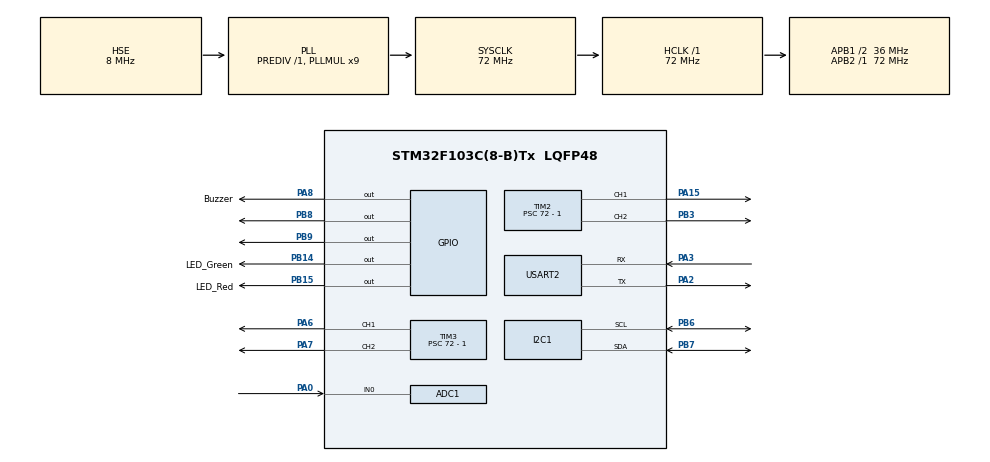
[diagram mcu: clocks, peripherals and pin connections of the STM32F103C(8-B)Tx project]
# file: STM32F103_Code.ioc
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ADC1.Channel-0\#ChannelRegularConversion=ADC_CHANNEL_0
ADC1.NbrOfConversionFlag=1
ADC1.Rank-0\#ChannelRegularConversion=1
ADC1.SamplingTime-0\#ChannelRegularConversion=ADC_SAMPLETIME_1CYCLE_5
ADC1.master=1
Mcu.Family=STM32F1
Mcu.Name=STM32F103C(8-B)Tx
Mcu.Package=LQFP48
NVIC.PriorityGroup=NVIC_PRIORITYGROUP_4
PA0-WKUP.Signal=ADCx_IN0
PA13.Mode=Serial_Wire
PA13.Signal=SYS_JTMS-SWDIO
PA14.Mode=Serial_Wire
PA14.Signal=SYS_JTCK-SWCLK
PA15.Signal=S_TIM2_CH1_ETR
PA2.Mode=Asynchronous
PA2.Signal=USART2_TX
PA3.Mode=Asynchronous
PA3.Signal=USART2_RX
PA6.Signal=S_TIM3_CH1
PA7.Signal=S_TIM3_CH2
PA8.GPIO_Label=Buzzer
PA8.Signal=GPIO_Output
PB14.GPIO_Label=LED_Green
PB14.Signal=GPIO_Output
PB15.GPIO_Label=LED_Red
PB15.Signal=GPIO_Output
PB3.Signal=S_TIM2_CH2
PB6.Mode=I2C
PB6.Signal=I2C1_SCL
PB7.Mode=I2C
PB7.Signal=I2C1_SDA
PB8.Signal=GPIO_Output
PB9.Signal=GPIO_Output
PC14-OSC32_IN.Mode=LSE-External-Oscillator
PC14-OSC32_IN.Signal=RCC_OSC32_IN
PC15-OSC32_OUT.Mode=LSE-External-Oscillator
PC15-OSC32_OUT.Signal=RCC_OSC32_OUT
PD0-OSC_IN.Mode=HSE-External-Oscillator
PD0-OSC_IN.Signal=RCC_OSC_IN
PD1-OSC_OUT.Mode=HSE-External-Oscillator
PD1-OSC_OUT.Signal=RCC_OSC_OUT
ProjectManager.HeapSize=0x200
ProjectManager.StackSize=0x400
ProjectManager.TargetToolchain=STM32CubeIDE
RCC.ADCPresc=RCC_ADCPCLK2_DIV6
RCC.AHBFreq_Value=72000000
RCC.APB1CLKDivider=RCC_HCLK_DIV2
RCC.APB1Freq_Value=36000000
RCC.APB1TimFreq_Value=72000000
RCC.APB2Freq_Value=72000000
RCC.APB2TimFreq_Value=72000000
RCC.HCLKFreq_Value=72000000
RCC.PLLMUL=RCC_PLL_MUL9
RCC.PLLSourceVirtual=RCC_PLLSOURCE_HSE
RCC.SYSCLKFreq_VALUE=72000000
RCC.SYSCLKSource=RCC_SYSCLKSOURCE_PLLCLK
RCC.USBFreq_Value=72000000
SH.ADCx_IN0.0=ADC1_IN0,IN0
SH.S_TIM2_CH1_ETR.0=TIM2_CH1,PWM Generation1 CH1
SH.S_TIM2_CH2.0=TIM2_CH2,PWM Generation2 CH2
SH.S_TIM3_CH1.0=TIM3_CH1,PWM Generation1 CH1
SH.S_TIM3_CH2.0=TIM3_CH2,PWM Generation2 CH2
TIM1.Prescaler=72 - 1
TIM2.Channel-PWM\ Generation1\ CH1=TIM_CHANNEL_1
TIM2.Channel-PWM\ Generation2\ CH2=TIM_CHANNEL_2
TIM2.Period=1000 - 1
TIM2.Prescaler=72 - 1
TIM3.Channel-PWM\ Generation1\ CH1=TIM_CHANNEL_1
TIM3.Channel-PWM\ Generation2\ CH2=TIM_CHANNEL_2
TIM3.Period=1000 - 1
TIM3.Prescaler=72 - 1
USART2.VirtualMode=VM_ASYNC
VP_TIM1_VS_ClockSourceINT.Mode=Internal
board=custom

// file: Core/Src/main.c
/* USER CODE BEGIN Header */
/**
  ******************************************************************************
  * @file           : main.c
  * @brief          : Smart Environment Monitor & Controller
  *
  * Chức năng:
  *  1. Đo DHT11_INDOOR / DHT11_OUTDOOR → LED + Buzzer cảnh báo nhiệt độ
  *  2. PID điều khiển PWM TIM2_CH1, TIM2_CH2, TIM3_CH1 theo nhiệt độ Indoor
  *  3. MQ6 đo khí gas → PID điều khiển PWM TIM3_CH2, cảnh báo PPM > 100
  *  4. Hiển thị OLED: Temp/Hum In-Out, PPM, PWM, Setpoint, State
  *  5. Gửi dữ liệu qua UART2 → ESP32 (JSON, mỗi 2 giây)
  ******************************************************************************
  */
/* USER CODE END Header */

#include "main.h"
#include "adc.h"
#include "i2c.h"
#include "tim.h"
#include "usart.h"
#include "gpio.h"

/* USER CODE BEGIN Includes */
#include "dht11.h"
#include "mq6.h"
#include "pid.h"
#include "ssd1306.h"
#include "ssd1306_fonts.h"
#include <stdio.h>
#include <string.h>
/* USER CODE END Includes */

/* USER CODE BEGIN PD */
/* ── Ngưỡng cảnh báo ─────────────────────────────────────────────────── */
#define TEMP_ALERT_THRESHOLD    80.0f   /* °C – cảnh báo nhiệt độ         */
#define GAS_ALERT_THRESHOLD     100.0f  /* ppm – cảnh báo khí gas         */

/* ── Setpoint PID nhiệt độ (mục tiêu làm mát) ───────────────────────── */
#define TEMP_SETPOINT           30.0f   /* °C                              */

/* ── Setpoint PID gas (mục tiêu thổi khí khi gas cao) ───────────────── */
#define GAS_SETPOINT_LOW        100.0f   /* ppm – quạt thổi nhẹ            */

/* ── PWM range (TIM2/TIM3, Period = 1000) ───────────────────────────── */
#define PWM_MIN                 200.0f
#define PWM_MAX                 999.0f

/* ── PID tuning: nhiệt độ ───────────────────────────────────────────── */
#define TEMP_KP                 200.0f
#define TEMP_KI                 0.2f
#define TEMP_KD                 10.0f

/* ── PID tuning: gas ────────────────────────────────────────────────── */
#define GAS_KP                  8.0f
#define GAS_KI                  0.2f
#define GAS_KD                  1.0f

/* ── Chu kỳ vòng lặp chính ──────────────────────────────────────────── */
#define LOOP_DELAY_MS           1000
/* USER CODE END PD */

/* USER CODE BEGIN PV */
/* ── PID instances ───────────────────────────────────────────────────── */
static PID_t pidTemp;   /* điều khiển TIM2_CH1, TIM2_CH2, TIM3_CH1      */
static PID_t pidGas;    /* điều khiển TIM3_CH2                           */

/* ── Buffer dùng chung cho sprintf / UART ───────────────────────────── */
static char strBuf[128];
static char uartBuf[256];
/* USER CODE END PV */

void SystemClock_Config(void);

/* USER CODE BEGIN PFP */
static void Alert_Update(uint8_t tempAlert, uint8_t gasAlert);
static void OLED_Update(uint8_t inOk, uint8_t outOk,
                        uint32_t pwmTemp, uint32_t pwmGas,
                        float gasPPM, uint8_t tempAlert, uint8_t gasAlert);
static void UART_SendData(uint8_t inOk, uint8_t outOk,
                          uint32_t pwmTemp, uint32_t pwmGas,
                          float gasPPM, uint8_t tempAlert, uint8_t gasAlert);
/* USER CODE END PFP */

/* =========================================================================
 * main
 * ========================================================================= */
int main(void)
{
    /* ── HAL & Clock ─────────────────────────────────────────────────── */
    HAL_Init();
    SystemClock_Config();

    /* ── Peripheral init ─────────────────────────────────────────────── */
    MX_GPIO_Init();
    MX_ADC1_Init();
    MX_I2C1_Init();
    MX_TIM1_Init();
    MX_TIM2_Init();
    MX_TIM3_Init();
    MX_USART2_UART_Init();

    /* USER CODE BEGIN 2 */
    /* ── Timer base (dùng cho DHT11 microDelay) ──────────────────────── */
    HAL_TIM_Base_Start(&htim1);

    /* ── OLED ────────────────────────────────────────────────────────── */
    ssd1306_Init();

    /* ── DHT11 ───────────────────────────────────────────────────────── */
    DHT11_Init(&DHT11_INDOOR);
    DHT11_Init(&DHT11_OUTDOOR);

    /* ── PWM channels ────────────────────────────────────────────────── */
    HAL_TIM_PWM_Start(&htim2, TIM_CHANNEL_1);
    HAL_TIM_PWM_Start(&htim2, TIM_CHANNEL_2);
    HAL_TIM_PWM_Start(&htim3, TIM_CHANNEL_1);
    HAL_TIM_PWM_Start(&htim3, TIM_CHANNEL_2);

    /* Khởi đầu tất cả PWM = 0 */
    __HAL_TIM_SET_COMPARE(&htim2, TIM_CHANNEL_1, 0);
    __HAL_TIM_SET_COMPARE(&htim2, TIM_CHANNEL_2, 0);
    __HAL_TIM_SET_COMPARE(&htim3, TIM_CHANNEL_1, 0);
    __HAL_TIM_SET_COMPARE(&htim3, TIM_CHANNEL_2, 0);

    /* ── PID: nhiệt độ (TIM2_CH1, TIM2_CH2, TIM3_CH1) ──────────────── */
    PID_Init(&pidTemp,
             TEMP_KP, TEMP_KI, TEMP_KD,
             TEMP_SETPOINT,
             PWM_MIN, PWM_MAX);

    /* ── PID: gas (TIM3_CH2) ─────────────────────────────────────────── */
    PID_Init(&pidGas,
             GAS_KP, GAS_KI, GAS_KD,
             GAS_SETPOINT_LOW,
             PWM_MIN, PWM_MAX);

    /* ── MQ6: warm-up 20s + calibrate (blocking, chỉ 1 lần) ─────────── */
    {
        /* Hiển thị thông báo warm-up lên OLED trong lúc chờ */
        ssd1306_Fill(Black);
        ssd1306_SetCursor(10, 20);
        ssd1306_WriteString("MQ6 Warming up", Font_7x10, White);
        ssd1306_SetCursor(20, 38);
        ssd1306_WriteString("Please wait...", Font_7x10, White);
        ssd1306_UpdateScreen();
    }
    MQ6_Init();   /* blocking ~20s + 50 samples calibrate */

    PID_Reset(&pidTemp);
    PID_Reset(&pidGas);
    /* USER CODE END 2 */

    /* ── Infinite loop ───────────────────────────────────────────────── */
    while (1)
    {
        /* ── 1. Đọc DHT11 ───────────────────────────────────────────── */
        uint8_t inOk  = DHT11_Read(&DHT11_INDOOR);
        uint8_t outOk = DHT11_Read(&DHT11_OUTDOOR);

        /* ── 2. Đọc MQ6 ─────────────────────────────────────────────── */
        float gasPPM = MQ6_Read();   /* trả -1 nếu chưa calibrate        */
        if (gasPPM < 0.0f) gasPPM = 0.0f;

        /* ── 3. PID nhiệt độ → PWM TIM2_CH1, TIM2_CH2, TIM3_CH1 ────── */
        uint32_t pwmTemp = 0;
        if (inOk)
        {
            PID_Compute(&pidTemp, DHT11_INDOOR.temperature,
                        (float)LOOP_DELAY_MS / 1000.0f);
            pwmTemp = PID_GetPWM(&pidTemp);
        }
        __HAL_TIM_SET_COMPARE(&htim2, TIM_CHANNEL_1, pwmTemp);
        __HAL_TIM_SET_COMPARE(&htim2, TIM_CHANNEL_2, pwmTemp);
//        __HAL_TIM_SET_COMPARE(&htim3, TIM_CHANNEL_2, pwmTemp);

        /* ── 4. PID gas → PWM TIM3_CH2 ──────────────────────────────── */
        uint32_t pwmGas;
        if (gasPPM < GAS_ALERT_THRESHOLD)
		{
			pwmGas = 150;
			PID_Reset(&pidGas);  /* reset tích phân, PID bắt đầu sạch khi vượt ngưỡng */
		}
		else
		{
			PID_Compute(&pidGas, gasPPM, (float)LOOP_DELAY_MS / 1000.0f);
			pwmGas = PID_GetPWM(&pidGas);
		}
		__HAL_TIM_SET_COMPARE(&htim3, TIM_CHANNEL_1, pwmGas);

        /* ── 5. Đánh giá cảnh báo ────────────────────────────────────── */
        uint8_t tempAlert = (inOk && DHT11_INDOOR.temperature > TEMP_ALERT_THRESHOLD) ? 1 : 0;
        uint8_t gasAlert  = MQ6_IsAlert();   /* PPM >= MQ6_ALERT_PPM (100) */

        /* ── 6. LED & Buzzer ─────────────────────────────────────────── */
        Alert_Update(tempAlert, gasAlert);

        /* ── 7. Hiển thị OLED ───────────────────────────────────────── */
        OLED_Update(inOk, outOk, pwmTemp, pwmGas,
                    gasPPM, tempAlert, gasAlert);

        /* ── 8. Gửi UART → ESP32 ────────────────────────────────────── */
        UART_SendData(inOk, outOk, pwmTemp, pwmGas,
                      gasPPM, tempAlert, gasAlert);

        /* ── 9. Chờ ─────────────────────────────────────────────────── */
        HAL_Delay(500);
    }
}

/* =========================================================================
 * Alert_Update
 *   - Cả hai OK   → LED Xanh ON,  LED Đỏ OFF, Buzzer OFF
 *   - Bất kỳ cảnh báo → LED Xanh OFF, LED Đỏ ON, Buzzer ON
 * ========================================================================= */
static void Alert_Update(uint8_t tempAlert, uint8_t gasAlert)
{
    if (tempAlert || gasAlert)
    {
        HAL_GPIO_WritePin(LED_Red_GPIO_Port,   LED_Red_Pin,   GPIO_PIN_SET);
        HAL_GPIO_WritePin(LED_Green_GPIO_Port, LED_Green_Pin, GPIO_PIN_RESET);
        HAL_GPIO_WritePin(Buzzer_GPIO_Port,    Buzzer_Pin,    GPIO_PIN_SET);
    }
    else
    {
        HAL_GPIO_WritePin(LED_Red_GPIO_Port,   LED_Red_Pin,   GPIO_PIN_RESET);
        HAL_GPIO_WritePin(LED_Green_GPIO_Port, LED_Green_Pin, GPIO_PIN_SET);
        HAL_GPIO_WritePin(Buzzer_GPIO_Port,    Buzzer_Pin,    GPIO_PIN_RESET);
    }
}

/* =========================================================================
 * OLED_Update  –  Layout 128×64, chia 2 vùng ngang
 *
 *  Cột trái (0..62)   : INDOOR temp/hum + PWM nhiệt + State nhiệt
 *  Cột phải (65..127) : OUTDOOR temp/hum + PPM + PWM gas
 *  Dòng kẻ dọc tại x = 63
 *  Dòng cuối (y=54)   : Setpoint nhiệt | Setpoint gas
 * ========================================================================= */
static void OLED_Update(uint8_t inOk, uint8_t outOk,
                        uint32_t pwmTemp, uint32_t pwmGas,
                        float gasPPM, uint8_t tempAlert, uint8_t gasAlert)
{
    ssd1306_Fill(Black);

    /* Đường kẻ dọc giữa */
    for (uint8_t y = 0; y < 64; y++)
        ssd1306_DrawPixel(63, y, White);

    /* ── Cột trái: INDOOR ─────────────────────────────────────────────── */
    ssd1306_SetCursor(0, 0);
    ssd1306_WriteString("INDOOR", Font_7x10, White);

    if (inOk)
    {
        /* Nhiệt độ */
        sprintf(strBuf, "%d.%dC",
                (int)DHT11_INDOOR.temperature,
                (int)(DHT11_INDOOR.temperature * 10) % 10);
        ssd1306_SetCursor(0, 12);
        ssd1306_WriteString(strBuf, Font_7x10, White);

        /* Độ ẩm */
        sprintf(strBuf, "%d.%d%%",
                (int)DHT11_INDOOR.humidity,
                (int)(DHT11_INDOOR.humidity * 10) % 10);
        ssd1306_SetCursor(0, 24);
        ssd1306_WriteString(strBuf, Font_7x10, White);

        /* PWM nhiệt */
        sprintf(strBuf, "P:%lu", pwmTemp);
        ssd1306_SetCursor(0, 36);
        ssd1306_WriteString(strBuf, Font_7x10, White);

    }
    else
    {
        ssd1306_SetCursor(0, 12);
        ssd1306_WriteString("--.-C", Font_7x10, White);
        ssd1306_SetCursor(0, 24);
        ssd1306_WriteString("--.-%", Font_7x10, White);
        ssd1306_SetCursor(0, 36);
        ssd1306_WriteString("P:---", Font_7x10, White);
    }

    /* Setpoint nhiệt */
    sprintf(strBuf, "S:%.0fC", TEMP_SETPOINT);
    ssd1306_SetCursor(0, 48);
    ssd1306_WriteString(strBuf, Font_7x10, White);

    /* ── Cột phải: OUTDOOR ────────────────────────────────────────────── */
    ssd1306_SetCursor(66, 0);
    ssd1306_WriteString("OUTDR", Font_7x10, White);

    if (outOk)
    {
        sprintf(strBuf, "%d.%dC",
                (int)DHT11_OUTDOOR.temperature,
                (int)(DHT11_OUTDOOR.temperature * 10) % 10);
        ssd1306_SetCursor(66, 12);
        ssd1306_WriteString(strBuf, Font_7x10, White);

        sprintf(strBuf, "%d.%d%%",
                (int)DHT11_OUTDOOR.humidity,
                (int)(DHT11_OUTDOOR.humidity * 10) % 10);
        ssd1306_SetCursor(66, 24);
        ssd1306_WriteString(strBuf, Font_7x10, White);
    }
    else
    {
        ssd1306_SetCursor(66, 12);
        ssd1306_WriteString("--.-C", Font_7x10, White);
        ssd1306_SetCursor(66, 24);
        ssd1306_WriteString("--.-%", Font_7x10, White);
    }

    /* PPM */
    sprintf(strBuf, "%dppm", (int)gasPPM);
    ssd1306_SetCursor(66, 36);
    ssd1306_WriteString(strBuf, Font_7x10, White);

    /* State gas */
    ssd1306_SetCursor(66, 48);
    ssd1306_WriteString(gasAlert ? "!GAS!" : "SAFE", Font_7x10, White);

    ssd1306_UpdateScreen();
}

/* =========================================================================
 * UART_SendData  –  Gửi JSON tới ESP32 qua USART2
 *
 *  Format:
 *  {"ti":25.3,"hi":60.1,"to":28.0,"ho":65.0,
 *   "ppm":45,"pt":350,"pg":120,"sp_t":30,"sp_g":50,
 *   "st_t":"OK","st_g":"SAFE"}\r\n
 * ========================================================================= */
static void UART_SendData(uint8_t inOk, uint8_t outOk,
                          uint32_t pwmTemp, uint32_t pwmGas,
                          float gasPPM, uint8_t tempAlert, uint8_t gasAlert)
{
    float ti = inOk ? DHT11_INDOOR.temperature : -1.0f;
    float hi = inOk ? DHT11_INDOOR.humidity    : -1.0f;

    int len = snprintf(uartBuf, sizeof(uartBuf),
        "{"
        "\"temp\":%d.%d,"
        "\"humid\":%d.%d,"
        "\"gas\":%d"
        "}\n",
        (int)ti, (ti < 0.0f ? 0 : (int)(ti * 10) % 10),
        (int)hi, (hi < 0.0f ? 0 : (int)(hi * 10) % 10),
        (int)gasPPM
    );

    if (len > 0)
        HAL_UART_Transmit(&huart2, (uint8_t *)uartBuf, (uint16_t)len, 100);
}

/* =========================================================================
 * SystemClock_Config  –  HSE 8MHz × PLL9 = 72MHz (STM32F103)
 * ========================================================================= */
void SystemClock_Config(void)
{
    RCC_OscInitTypeDef RCC_OscInitStruct = {0};
    RCC_ClkInitTypeDef RCC_ClkInitStruct = {0};
    RCC_PeriphCLKInitTypeDef PeriphClkInit = {0};

    RCC_OscInitStruct.OscillatorType      = RCC_OSCILLATORTYPE_HSE;
    RCC_OscInitStruct.HSEState            = RCC_HSE_ON;
    RCC_OscInitStruct.HSEPredivValue      = RCC_HSE_PREDIV_DIV1;
    RCC_OscInitStruct.HSIState            = RCC_HSI_ON;
    RCC_OscInitStruct.PLL.PLLState        = RCC_PLL_ON;
    RCC_OscInitStruct.PLL.PLLSource       = RCC_PLLSOURCE_HSE;
    RCC_OscInitStruct.PLL.PLLMUL         = RCC_PLL_MUL9;
    if (HAL_RCC_OscConfig(&RCC_OscInitStruct) != HAL_OK)
        Error_Handler();

    RCC_ClkInitStruct.ClockType      = RCC_CLOCKTYPE_HCLK | RCC_CLOCKTYPE_SYSCLK
                                     | RCC_CLOCKTYPE_PCLK1 | RCC_CLOCKTYPE_PCLK2;
    RCC_ClkInitStruct.SYSCLKSource   = RCC_SYSCLKSOURCE_PLLCLK;
    RCC_ClkInitStruct.AHBCLKDivider  = RCC_SYSCLK_DIV1;
    RCC_ClkInitStruct.APB1CLKDivider = RCC_HCLK_DIV2;
    RCC_ClkInitStruct.APB2CLKDivider = RCC_HCLK_DIV1;
    if (HAL_RCC_ClockConfig(&RCC_ClkInitStruct, FLASH_LATENCY_2) != HAL_OK)
        Error_Handler();

    PeriphClkInit.PeriphClockSelection = RCC_PERIPHCLK_ADC;
    PeriphClkInit.AdcClockSelection    = RCC_ADCPCLK2_DIV6;
    if (HAL_RCCEx_PeriphCLKConfig(&PeriphClkInit) != HAL_OK)
        Error_Handler();
}

void Error_Handler(void)
{
    __disable_irq();
    while (1) {}
}
